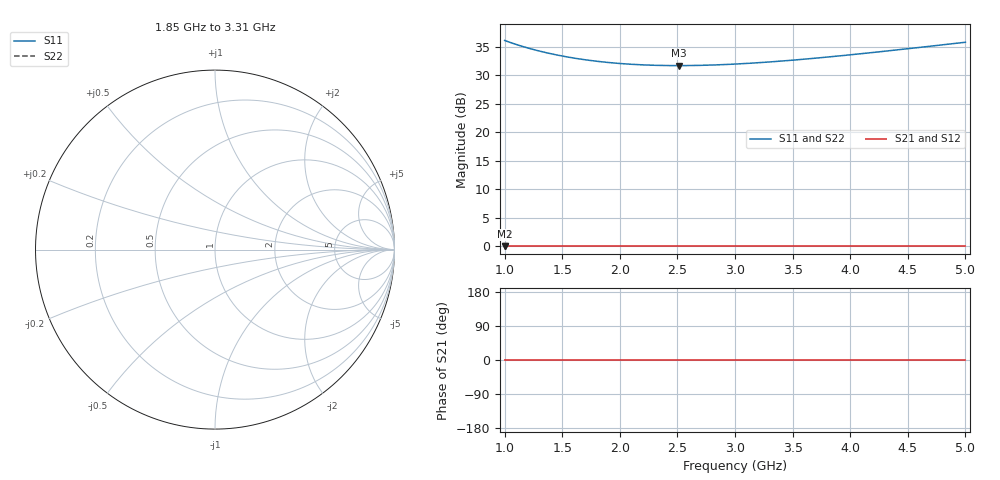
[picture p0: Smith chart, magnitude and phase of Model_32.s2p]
# GHZ S RI R 50
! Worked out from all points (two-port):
!   401 points, 1 GHz to 5 GHz, reference 50 ohm
!   highest |S21| = 0.00 dB at 1 GHz (marker M1); lowest = 0.0 dB at 1 GHz (marker M2)
!   |S21| within 3 dB of the highest: start of sweep to end of sweep
!   lowest |S11| = 31.7 dB at 2.51 GHz (marker M3)
!   |S11| at or under -10 dB: nowhere
!   |S22| runs from 31.7 to 36.1 dB; largest |S21 - S12| = 0
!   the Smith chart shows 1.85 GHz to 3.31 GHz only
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1  63.62 0  1 0  1 0  63.62 0
1.02  62.55 0  1 0  1 0  62.55 0
1.15  56.6 0  1 0  1 0  56.6 0
1.22  53.99 0  1 0  1 0  53.99 0
1.3  51.42 0  1 0  1 0  51.42 0
1.38  49.21 0  1 0  1 0  49.21 0
1.47  47.09 0  1 0  1 0  47.09 0
1.57  45.12 0  1 0  1 0  45.12 0
1.67  43.49 0  1 0  1 0  43.49 0
1.82  41.58 0  1 0  1 0  41.58 0
1.98  40.11 0  1 0  1 0  40.11 0
2.15  39.08 0  1 0  1 0  39.08 0
2.34  38.45 0  1 0  1 0  38.45 0
2.51  38.29 0  1 0  1 0  38.29 0
2.75  38.6 0  1 0  1 0  38.6 0
3  39.49 0  1 0  1 0  39.49 0
3.33  41.43 0  1 0  1 0  41.43 0
3.67  44.22 0  1 0  1 0  44.22 0
4  47.6 0  1 0  1 0  47.6 0
4.34  51.71 0  1 0  1 0  51.71 0
4.64  55.83 0  1 0  1 0  55.83 0
5  61.36 0  1 0  1 0  61.36 0
